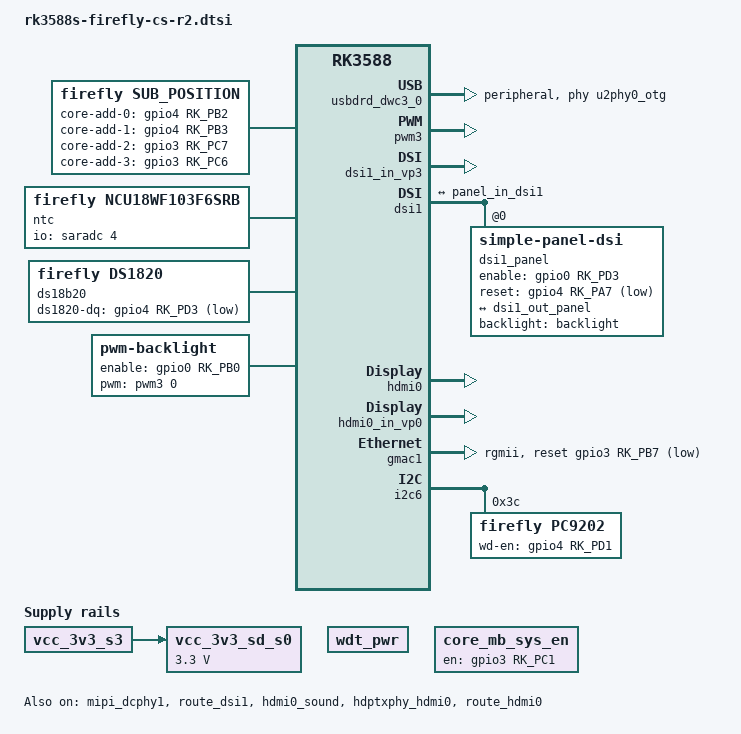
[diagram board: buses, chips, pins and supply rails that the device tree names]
// SPDX-License-Identifier: (GPL-2.0+ OR MIT)
/*
 * Copyright (c) 2021 Rockchip Electronics Co., Ltd.
 *
 */

#include "rk3588-firefly-port.dtsi"

/ {
	chosen: chosen {
		bootargs = "earlycon=uart8250,mmio32,0xfeb50000 console=ttyFIQ0 irqchip.gicv3_pseudo_nmi=0 root=PARTLABEL=rootfs rootfstype=ext4 ro rootwait overlayroot=device:dev=PARTLABEL=userdata,fstype=ext4,mkfs=1 coherent_pool=1m systemd.gpt_auto=0 cgroup_enable=memory swapaccount=1";
	};

	firefly_leds: leds {
		power_led: power {
			gpios = <&gpio4 RK_PA3 GPIO_ACTIVE_HIGH>;//blue led
			pinctrl-names = "default";
			pinctrl-0 = <&led_power>;
		};

		user_led: user {
			gpios = <&gpio4 RK_PB4 GPIO_ACTIVE_HIGH>;//red led
			pinctrl-names = "default";
			pinctrl-0 = <&led_user>;
		};
	};

    vcc_3v3_sd_s0: vcc-3v3-sd-s0 {
        compatible = "regulator-fixed";
        regulator-name = "vcc_3v3_sd_s0";
        regulator-min-microvolt = <3300000>;
        regulator-max-microvolt = <3300000>;
        //gpios = <&gpio3 RK_PC6 GPIO_ACTIVE_HIGH>;
        pinctrl-names = "default";
        pinctrl-0 = <&sdmmc_pwr>;
        enable-active-high;
        vin-supply = <&vcc_3v3_s3>;
            regulator-state-mem {
            regulator-off-in-suspend;
        };
    };

    wdt_pwr: wdt-pwr-regulator {
        compatible = "regulator-fixed";
        enable-active-high;
        regulator-always-on;
        regulator-boot-on;
        pinctrl-names = "default";
        //gpios = <&gpio4 RK_PB5 GPIO_ACTIVE_HIGH>;
        pinctrl-0 = <&wdt_pwr_drv>;
        regulator-name = "wdt_pwr";
    };

    core_mb_sys_en: core-mb-sys-en-regulator {
        compatible = "regulator-fixed";
        enable-active-high;
        regulator-always-on;
        regulator-boot-on;
        pinctrl-names = "default";
        gpios = <&gpio3 RK_PC1 GPIO_ACTIVE_HIGH>;
        pinctrl-0 = <&core_mb_sys_en_drv>;
        regulator-name = "core_mb_sys_en";
    };

    virtual_touchscreen {
        compatible = "virtual_touchscreen";
        status = "okay";
        abs_x_min = <0>;
        abs_x_max = <1080>;
        abs_y_min = <0>;
        abs_y_max = <1920>;
    };

    sub_position {
        status = "okay";
        compatible = "firefly,sub_position";
        core-add-0 = <&gpio4 RK_PB2 GPIO_ACTIVE_HIGH>;
        core-add-1 = <&gpio4 RK_PB3 GPIO_ACTIVE_HIGH>;
        core-add-2 = <&gpio3 RK_PC7 GPIO_ACTIVE_HIGH>;
        core-add-3 = <&gpio3 RK_PC6 GPIO_ACTIVE_HIGH>;
    };


	ntc {
		status = "okay";
		compatible = "firefly,ncu18wf103f6srb";
		pullup-uv = <1800000>;
		pullup-ohm = <10000>;
		pulldown-ohm = <0>;
		io-channels = <&saradc 4>;
	};

    ds18b20 {
        status = "okay";
        compatible = "firefly,ds1820";
        ds1820-dq = <&gpio4 RK_PD3 GPIO_ACTIVE_LOW>;
        //ds1820-dq-1 = <&gpio3 26 GPIO_ACTIVE_LOW>;
	    pinctrl-names = "default";
	    pinctrl-0 = <&ds18b20_dp_pin>;
	};

	backlight: backlight {
        status = "okay";
        compatible = "pwm-backlight";
        enable-gpios = <&gpio0 RK_PB0 GPIO_ACTIVE_HIGH>;
        pwms = <&pwm3 0 50000 1>;
        brightness-levels = <
             60  60  60  61  61  61  62  62
             62  63  63  63  64  64  64  65
             65  65  66  66  66  67  67  67
             68  68  68  69  69  69  70  70
             70  71  71  71  72  72  72  73
             73  73  74  74  74  75  75  75
             76  76  76  77  77  77  78  78
             78  79  79  79  80  80  80  81
             81  81  82  82  82  83  83  83
             84  84  84  85  85  85  86  86
             86  87  87  87  88  88  88  89
             89  89  90  91  92  93  94  95
             96  97  98  99 100 101 102 103
            104 105 106 107 108 109 110 111
            112 113 114 115 116 117 118 119
            120 121 122 123 124 125 126 127
            128 129 130 131 132 133 134 135
            136 137 138 139 140 141 142 143
            144 145 146 147 148 149 150 151
            152 153 154 155 156 157 158 159
            160 161 162 163 164 165 166 167
            168 169 170 171 172 173 174 175
            176 177 178 179 180 181 182 183
            184 185 186 187 188 189 190 191
            192 193 194 195 196 197 198 199
            200 201 202 203 204 205 206 207
            208 209 210 211 212 213 214 215
            216 217 218 219 220 221 222 223
            224 225 226 227 228 229 230 231
            232 233 234 235 236 237 238 239
            240 241 242 243 244 245 246 247
            248 249 250 251 252 253 254 255
        >;
        default-brightness-level = <150>;
    };
};

/* usb2 host */
&u2phy2 {
	status = "disabled";
};

&u2phy2_host {
	status = "disabled";
};

&u2phy3 {
	status = "disabled";
};

&u2phy3_host {
	status = "disabled";
};

/* typec0 */
&usbdp_phy0 {
       status = "disabled";
};
&usbdp_phy0_dp {
       status = "disabled";
};
&usbdp_phy0_u3 {
       status = "disabled";
};

&u2phy0_otg {
	/delete-property/ rockchip,typec-vbus-det;
};

&usbdrd_dwc3_0 {
       dr_mode = "peripheral";
       phys = <&u2phy0_otg>;
       phy-names = "usb2-phy";
       maximum-speed = "high-speed";
};

/*40 pins*/
&pwm3 {
    pinctrl-0 = <&pwm3m1_pins>;
    status = "okay";
};


/*
 * mipi_dcphy1 needs to be enabled
 * when dsi1 is enabled
 */
&mipi_dcphy1 {
    status = "okay";
};

&dsi1_in_vp2 {
    status = "disabled";
};

&dsi1_in_vp3 {
    status = "okay";
};

&route_dsi1 {
    status = "okay";
    connect = <&vp3_out_dsi1>;
};
&dsi1 {
    status = "okay";
    //rockchip,lane-rate = <1000>;
    dsi1_panel: panel@0 {
        status = "okay";
        compatible = "simple-panel-dsi";
        reg = <0>;
        backlight = <&backlight>;
	enable-gpios = <&gpio0 RK_PD3 GPIO_ACTIVE_HIGH>;
        reset-gpios = <&gpio4 RK_PA7 GPIO_ACTIVE_LOW>;

        enable-delay-ms = <50>;
        prepare-delay-ms = <200>;
        reset-delay-ms = <50>;
        init-delay-ms = <55>;
        unprepare-delay-ms = <50>;
        disable-delay-ms = <20>;
        mipi-data-delay-ms = <200>;
        size,width = <120>;
        size,height = <170>;
        dsi,flags = <(MIPI_DSI_MODE_VIDEO | MIPI_DSI_MODE_VIDEO_BURST | MIPI_DSI_MODE_LPM | MIPI_DSI_MODE_EOT_PACKET)>;
        dsi,format = <MIPI_DSI_FMT_RGB888>;
        dsi,lanes  = <4>;

        panel-init-sequence = [
            //39 00 04 B9 83 10 2E
            // 15 00 02 CF FF
            05 78 01 11
            05 32 01 29
            //15 00 02 35 00
        ];

        panel-exit-sequence = [
            05 00 01 28
            05 00 01 10
        ];

        disp_timings0: display-timings {
            native-mode = <&dsi1_timing0>;
            dsi1_timing0: timing0 {
                clock-frequency = <72600000>;//<80000000>;
                hactive = <1080>;//<768>;
                vactive = <1920>;
                hsync-len = <14>;   //20, 50,10
                hback-porch = <26>; //50, 56,10
                hfront-porch = <32>;//50, 30,180
                vsync-len = <8>;//4
                vback-porch = <20>;//4
                vfront-porch = <80>;//8
                hsync-active = <0>;
                vsync-active = <0>;
                de-active = <0>;
                pixelclk-active = <0>;
            };
        };

        ports {
            #address-cells = <1>;
            #size-cells = <0>;

            port@0 {
                reg = <0>;
                panel_in_dsi1: endpoint {
                    remote-endpoint = <&dsi1_out_panel>;
                };
            };
        };
    };

    ports {
        #address-cells = <1>;
        #size-cells = <0>;

        port@1 {
            reg = <1>;
            dsi1_out_panel: endpoint {
            remote-endpoint = <&panel_in_dsi1>;
            };
        };
    };
};

/* hdmi0 */
&hdmi0 {
    enable-gpios = <&gpio4 RK_PB6 GPIO_ACTIVE_HIGH>;
    status = "okay";
};

&hdmi0_in_vp0 {
    status = "okay";
};

&hdmi0_sound {
        status = "okay";
};

&hdptxphy_hdmi0 {
    status = "okay";
};

&route_hdmi0{
    status = "okay";
};

&sdmmc {
    status = "disabled";
    vmmc-supply = <&vcc_3v3_sd_s0>;
};

&gmac1{
	phy-mode = "rgmii";
 	snps,reset-gpio = <&gpio3 RK_PB7 GPIO_ACTIVE_LOW>;
	tx_delay = <0x45>;
	rx_delay = <0x32>;
	status = "okay";
};

&i2c6 {
	status = "okay";
   	pinctrl-names = "default";
    pinctrl-0 = <&i2c6m3_xfer>;

    pc9202@3c {
        status = "okay";
        compatible = "firefly,pc9202";
        reg = <0x3c>;
	pinctrl-names = "default";
	pinctrl-0 = <&pc9202_en_pin>;
        wd-en-gpio = <&gpio4 RK_PD1 GPIO_ACTIVE_HIGH>;
    };

	pca9555: gpio@21 {
               status = "disabled";
               compatible = "nxp,pca9555";
               reg = <0x21>;
               gpio-controller;
               #gpio-cells = <2>;
               gpio-group-num = <200>;
       };


	usbc0: fusb302@22 {
		compatible = "fcs,fusb302";
		reg = <0x22>;
		interrupt-parent = <&gpio0>;
		interrupts = <RK_PC4 IRQ_TYPE_LEVEL_LOW>;
		pinctrl-names = "default";
		pinctrl-0 = <&usbc0_int>;
		vbus-supply = <&vbus5v0_typec_pwr_en>;
		status = "disabled";

		ports {
			#address-cells = <1>;
			#size-cells = <0>;

			port@0 {
				reg = <0>;
				usbc0_role_sw: endpoint@0 {
					remote-endpoint = <&dwc3_0_role_switch>;
				};
			};
		};

		usb_con: connector {
			compatible = "usb-c-connector";
			label = "USB-C";
			data-role = "dual";
			power-role = "dual";
			try-power-role = "sink";
			op-sink-microwatt = <1000000>;
			sink-pdos =
				<PDO_FIXED(5000, 1000, PDO_FIXED_USB_COMM)>;
			source-pdos =
				<PDO_FIXED(5000, 3000, PDO_FIXED_USB_COMM)>;

			altmodes {
				#address-cells = <1>;
				#size-cells = <0>;

				altmode@0 {
					reg = <0>;
					svid = <0xff01>;
					vdo = <0xffffffff>;
				};
			};

			ports {
				#address-cells = <1>;
				#size-cells = <0>;

				port@0 {
					reg = <0>;
					usbc0_orien_sw: endpoint {
						remote-endpoint = <&usbdp_phy0_orientation_switch>;
					};
				};

				port@1 {
					reg = <1>;
					dp_altmode_mux: endpoint {
						remote-endpoint = <&usbdp_phy0_dp_altmode_mux>;
					};
				};
			};
		};
	};

};


&pinctrl {
	leds {
		led_user: led-user {
			rockchip,pins = <4 RK_PB4 RK_FUNC_GPIO &pcfg_pull_none>;
		};
		led_power: led-power {
			rockchip,pins = <4 RK_PA3 RK_FUNC_GPIO &pcfg_pull_none>;
		};
	};

       headphone {
               hp_det: hp-det {
                       rockchip,pins = <1 RK_PC0 RK_FUNC_GPIO &pcfg_pull_none>;
               };
       };

       hym8563 {
               hym8563_int: hym8563-int {
                       rockchip,pins = <0 RK_PB0 RK_FUNC_GPIO &pcfg_pull_up>;
               };
       };

	usb-typec {
		usbc0_int: usbc0-int {
			rockchip,pins = <0 RK_PC4 RK_FUNC_GPIO &pcfg_pull_up>;
		};

	};

    wdt-pwr {
        wdt_pwr_drv: wdt-pwr-drv {
            rockchip,pins = <4 RK_PB5 RK_FUNC_GPIO &pcfg_pull_none>;
        };
    };

	wdt-en {
        pc9202_en_pin: pc9202-en-pin {
            rockchip,pins = <4 RK_PD1 RK_FUNC_GPIO &pcfg_pull_none>;
        };
    };

   ds18b20-dp {
        ds18b20_dp_pin: ds18b20-dp-pin {
            rockchip,pins = <4 RK_PD3 RK_FUNC_GPIO &pcfg_pull_none>;
        };
    };
    core-mb-sys-en {
        core_mb_sys_en_drv: core-mb-sys-en-drv {
            rockchip,pins = <3 RK_PC1 RK_FUNC_GPIO &pcfg_pull_up>;
        };
    };

    sdmmc {
        sdmmc_pwr: sdmmc-pwr {
            rockchip,pins = <3 RK_PC6 RK_FUNC_GPIO &pcfg_pull_none>;
        };
    };

};
